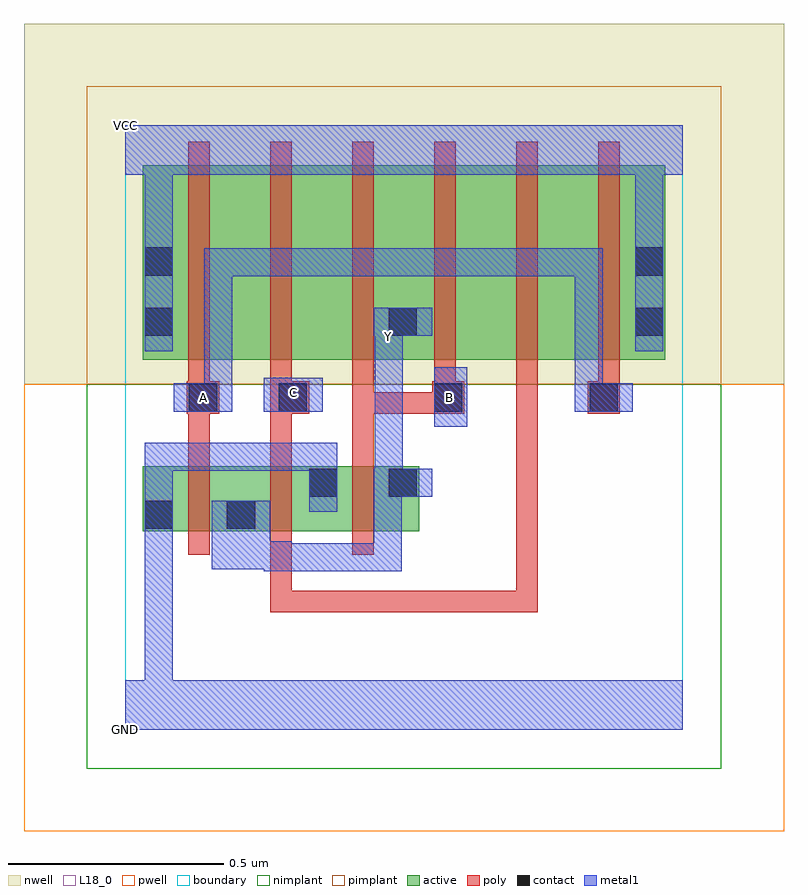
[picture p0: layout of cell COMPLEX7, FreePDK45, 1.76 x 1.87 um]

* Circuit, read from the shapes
.subckt COMPLEX7 A B C GND VCC Y
M1 Y A GND VSUBS nfet w=0.15u l=0.05u
M2 GND C Y VSUBS nfet w=0.15u l=0.05u
M3 Y B GND VSUBS nfet w=0.15u l=0.05u
M4 n1 A VCC n2 pfet w=0.45u l=0.05u
M5 n3 C n1 n2 pfet w=0.45u l=0.05u
M6 Y B n3 n2 pfet w=0.45u l=0.05u
M7 n4 B Y n2 pfet w=0.45u l=0.05u
M8 n5 C n4 n2 pfet w=0.45u l=0.05u
M9 VCC A n5 n2 pfet w=0.45u l=0.05u
.ends

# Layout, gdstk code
import gdstk
lib = gdstk.Library(unit=1e-6, precision=1e-09)
def R(c, l, rs):  # rectangles x0, y0, x1, y1
    for r in rs: c.add(gdstk.rectangle(r[:2], r[2:], *l))
def A(c, l, x, y, w, h, nx, ny, dx, dy):  # array of equal rectangles
    R(c, l, [(x+i*dx, y+j*dy, x+i*dx+w, y+j*dy+h) for i in range(nx) for j in range(ny)])
active = (1, 0)
pwell = (2, 0)
nwell = (3, 0)
nimplant = (4, 0)
pimplant = (5, 0)
poly = (9, 0)
contact = (10, 0)
metal1 = (11, 0)
L18_0 = (18, 0)
boundary = (235, 0)

complex7 = lib.new_cell('COMPLEX7')
R(complex7, active, [(0.04,0.46,0.305,0.61), (0.04,0.46,0.115,0.61), (0.23,0.46,0.495,0.61), (0.23,0.46,0.305,0.547), (0.42,0.46,0.68,0.61), (0.42,0.532,0.495,0.61), (0.605,0.532,0.68,0.61), (0.04,0.857,0.115,1.307), (0.04,0.857,0.265,1.307), (0.265,0.857,0.455,1.307), (0.455,0.857,0.68,1.307), (0.605,0.857,0.835,1.307), (0.605,0.857,0.68,1.07), (0.835,0.857,1.025,1.307), (1.025,0.857,1.25,1.307), (1.175,0.857,1.25,1.307)])
R(complex7, pwell, [(-0.235,-0.235,1.525,0.8)])
R(complex7, nwell, [(-0.235,0.8,1.525,1.635)])
R(complex7, nimplant, [(-0.09,-0.09,1.38,0.8)])
R(complex7, pimplant, [(-0.09,0.8,1.38,1.49)])
A(complex7, poly, 0.145, 0.405, 0.05, 0.26, 3, 1, 0.19, 0)
A(complex7, poly, 0.145, 0.615, 0.05, 0.167, 3, 1, 0.19, 0)
A(complex7, poly, 0.335, 0.757, 0.05, 0.095, 3, 1, 0.38, 0)
A(complex7, poly, 0.145, 0.802, 0.05, 0.56, 6, 1, 0.19, 0)
R(complex7, poly, [(0.335,0.272,0.385,0.322), (0.335,0.272,0.385,0.322), (0.335,0.272,0.385,0.322), (0.335,0.272,0.627,0.322), (0.335,0.272,0.385,0.455), (0.577,0.272,0.627,0.322), (0.577,0.272,0.627,0.322), (0.577,0.272,0.627,0.322), (0.577,0.272,0.822,0.322), (0.772,0.272,0.822,0.322), (0.772,0.272,0.822,0.322), (0.772,0.272,0.822,0.322), (0.772,0.272,0.955,0.322), (0.905,0.272,0.955,0.852), (0.905,0.272,0.955,0.322), (0.905,0.272,0.955,0.322), (0.905,0.272,0.955,0.322), (0.905,0.272,0.955,0.322), (0.905,0.272,0.955,0.322), (0.905,0.272,0.955,0.322), (0.905,0.272,0.955,0.322), (0.142,0.732,0.217,0.807), (0.335,0.732,0.425,0.807), (0.525,0.732,0.575,0.782), (0.525,0.732,0.69,0.782), (0.525,0.732,0.575,0.852), (0.64,0.732,0.69,0.782), (0.64,0.732,0.76,0.782), (0.71,0.732,0.785,0.807), (1.07,0.732,1.145,0.807), (0.145,0.757,0.195,0.852)])
A(complex7, contact, 0.355, 0.737, 0.065, 0.065, 3, 1, 0.36, 0)
R(complex7, contact, [(0.045,0.465,0.11,0.53), (0.235,0.465,0.3,0.53), (0.425,0.54,0.49,0.605), (0.61,0.54,0.675,0.605), (0.147,0.737,0.212,0.802), (0.045,0.912,0.11,0.977), (0.61,0.912,0.675,0.977), (1.18,0.912,1.245,0.977), (0.045,1.052,0.11,1.117), (1.18,1.052,1.245,1.117)])
R(complex7, metal1, [(0,0,1.29,0.115), (0.045,0.05,0.11,0.115), (0.045,0.05,0.11,0.115), (0.045,0.05,0.11,0.115), (0.045,0.05,0.11,0.115), (0.045,0.05,0.11,0.115), (0.045,0.05,0.11,0.115), (0.045,0.05,0.11,0.115), (0.045,0.05,0.11,0.115), (0.045,0.05,0.11,0.495), (0.32,0.367,0.472,0.432), (0.32,0.367,0.385,0.437), (0.407,0.367,0.472,0.432), (0.407,0.367,0.64,0.432), (0.575,0.367,0.64,0.432), (0.575,0.367,0.64,0.432), (0.575,0.367,0.64,0.432), (0.575,0.367,0.64,0.605), (0.2,0.372,0.335,0.53), (0.27,0.372,0.385,0.437), (0.045,0.43,0.11,0.565), (0.045,0.5,0.11,0.665), (0.425,0.505,0.49,0.64), (0.575,0.54,0.71,0.605), (0.577,0.54,0.642,0.907), (0.425,0.575,0.49,0.64), (0.425,0.575,0.49,0.665), (0.045,0.6,0.11,0.665), (0.045,0.6,0.11,0.665), (0.045,0.6,0.11,0.665), (0.045,0.6,0.247,0.665), (0.182,0.6,0.247,0.665), (0.182,0.6,0.49,0.665), (0.715,0.702,0.792,0.84), (0.112,0.737,0.247,0.802), (0.182,0.737,0.247,0.802), (0.182,0.737,0.247,0.802), (0.182,0.737,0.247,1.115), (0.32,0.737,0.457,0.815), (1.04,0.737,1.105,0.802), (1.04,0.737,1.105,0.802), (1.04,0.737,1.175,0.802), (1.04,0.737,1.105,1.115), (0.577,0.842,0.642,0.977), (0.045,0.877,0.11,1.152), (1.18,0.877,1.245,1.152), (0.575,0.912,0.71,0.977), (0.577,0.912,0.642,0.977), (0.182,1.05,0.247,1.115), (0.182,1.05,0.472,1.115), (0.407,1.05,0.472,1.115), (0.407,1.05,0.472,1.115), (0.407,1.05,0.472,1.115), (0.407,1.05,0.472,1.115), (0.407,1.05,0.472,1.115), (0.407,1.05,0.627,1.115), (0.562,1.05,0.627,1.115), (0.562,1.05,0.627,1.115), (0.562,1.05,0.627,1.115), (0.562,1.05,0.83,1.115), (0.765,1.05,0.83,1.115), (0.765,1.05,0.967,1.115), (0.902,1.05,0.967,1.115), (0.902,1.05,0.967,1.115), (0.902,1.05,0.967,1.115), (0.902,1.05,0.967,1.115), (0.902,1.05,0.967,1.115), (0.902,1.05,1.105,1.115), (1.04,1.05,1.105,1.115), (0.045,1.087,0.11,1.35), (1.18,1.087,1.245,1.35), (0,1.285,1.29,1.4)])
R(complex7, L18_0, [(0,0,1.29,0.115), (0.045,0.05,0.11,0.115), (0.045,0.05,0.11,0.115), (0.045,0.05,0.11,0.115), (0.045,0.05,0.11,0.115), (0.045,0.05,0.11,0.115), (0.045,0.05,0.11,0.115), (0.045,0.05,0.11,0.115), (0.045,0.05,0.11,0.115), (0.045,0.05,0.11,0.495), (0.32,0.367,0.385,0.437), (0.32,0.367,0.472,0.432), (0.407,0.367,0.472,0.432), (0.407,0.367,0.64,0.432), (0.575,0.367,0.64,0.432), (0.575,0.367,0.64,0.432), (0.575,0.367,0.64,0.432), (0.575,0.367,0.64,0.605), (0.2,0.372,0.335,0.53), (0.27,0.372,0.385,0.437), (0.045,0.43,0.11,0.565), (0.045,0.5,0.11,0.665), (0.425,0.505,0.49,0.64), (0.575,0.54,0.71,0.605), (0.577,0.54,0.642,0.907), (0.425,0.575,0.49,0.64), (0.425,0.575,0.49,0.665), (0.045,0.6,0.11,0.665), (0.045,0.6,0.11,0.665), (0.045,0.6,0.11,0.665), (0.045,0.6,0.247,0.665), (0.182,0.6,0.247,0.665), (0.182,0.6,0.49,0.665), (0.715,0.702,0.792,0.84), (0.112,0.737,0.247,0.802), (0.147,0.737,0.212,0.802), (0.182,0.737,0.247,0.802), (0.182,0.737,0.247,0.802), (0.182,0.737,0.247,1.115), (0.32,0.737,0.457,0.815), (0.717,0.737,0.782,0.802), (1.04,0.737,1.105,0.802), (1.04,0.737,1.105,0.802), (1.04,0.737,1.175,0.802), (1.04,0.737,1.105,1.115), (0.357,0.747,0.422,0.812), (0.577,0.842,0.642,0.977), (0.045,0.877,0.11,1.152), (0.577,0.877,0.642,0.942), (1.18,0.877,1.245,1.152), (0.575,0.912,0.71,0.977), (0.577,0.912,0.642,0.977), (0.182,1.05,0.247,1.115), (0.182,1.05,0.472,1.115), (0.407,1.05,0.472,1.115), (0.407,1.05,0.472,1.115), (0.407,1.05,0.472,1.115), (0.407,1.05,0.472,1.115), (0.407,1.05,0.472,1.115), (0.407,1.05,0.627,1.115), (0.562,1.05,0.627,1.115), (0.562,1.05,0.627,1.115), (0.562,1.05,0.627,1.115), (0.562,1.05,0.83,1.115), (0.765,1.05,0.83,1.115), (0.765,1.05,0.967,1.115), (0.902,1.05,0.967,1.115), (0.902,1.05,0.967,1.115), (0.902,1.05,0.967,1.115), (0.902,1.05,0.967,1.115), (0.902,1.05,0.967,1.115), (0.902,1.05,1.105,1.115), (1.04,1.05,1.105,1.115), (0.045,1.087,0.11,1.35), (1.18,1.087,1.245,1.35), (0,1.285,1.29,1.4)])
R(complex7, boundary, [(0,0,1.29,1.4)])
complex7.add(gdstk.Label('A', (0.18,0.77), layer=11, texttype=0))
complex7.add(gdstk.Label('B', (0.75,0.77), layer=11, texttype=0))
complex7.add(gdstk.Label('C', (0.39,0.78), layer=11, texttype=0))
complex7.add(gdstk.Label('Y', (0.61,0.91), layer=11, texttype=0))
complex7.add(gdstk.Label('VCC', (0,1.4), layer=11, texttype=0))
complex7.add(gdstk.Label('GND', (0,0), layer=11, texttype=0))

lib.write_gds('COMPLEX7.gds')
